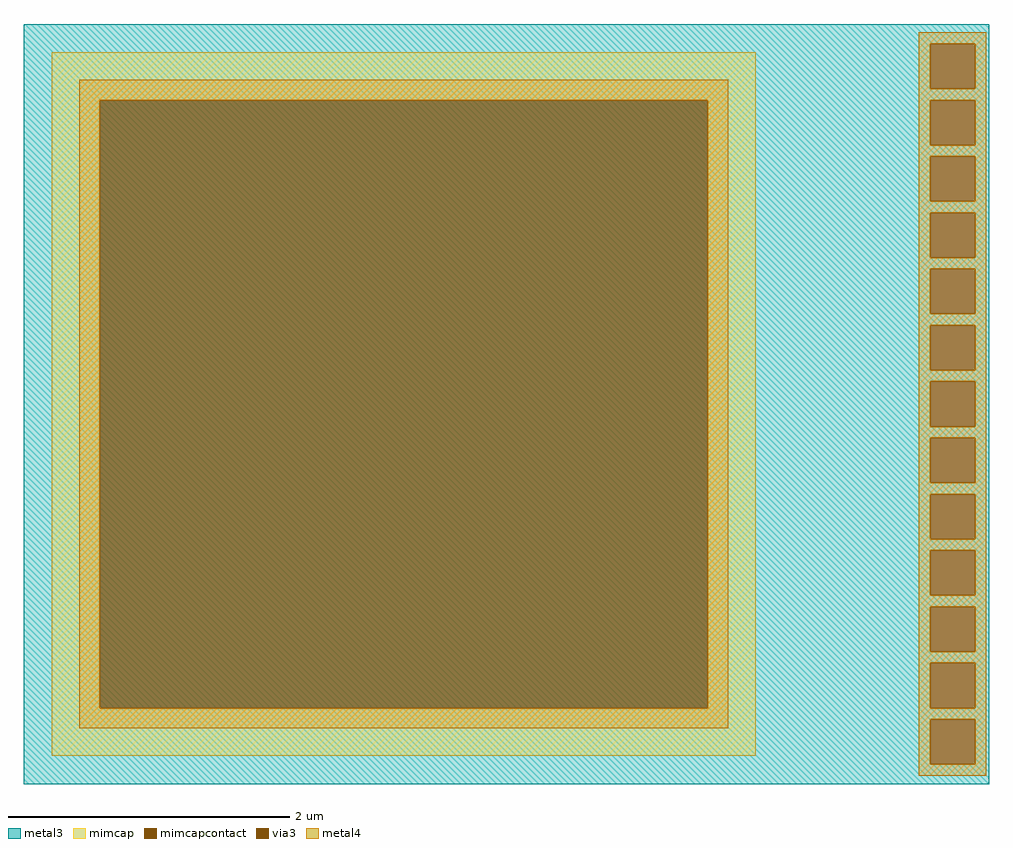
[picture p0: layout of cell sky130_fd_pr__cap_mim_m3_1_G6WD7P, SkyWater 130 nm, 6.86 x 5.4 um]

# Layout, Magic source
magic
tech sky130A
magscale 1 2
<< metal3 >>
rect -686 512 686 540
rect -686 448 602 512
rect 666 448 686 512
rect -686 432 686 448
rect -686 368 602 432
rect 666 368 686 432
rect -686 352 686 368
rect -686 288 602 352
rect 666 288 686 352
rect -686 272 686 288
rect -686 208 602 272
rect 666 208 686 272
rect -686 192 686 208
rect -686 128 602 192
rect 666 128 686 192
rect -686 112 686 128
rect -686 48 602 112
rect 666 48 686 112
rect -686 32 686 48
rect -686 -32 602 32
rect 666 -32 686 32
rect -686 -48 686 -32
rect -686 -112 602 -48
rect 666 -112 686 -48
rect -686 -128 686 -112
rect -686 -192 602 -128
rect 666 -192 686 -128
rect -686 -208 686 -192
rect -686 -272 602 -208
rect 666 -272 686 -208
rect -686 -288 686 -272
rect -686 -352 602 -288
rect 666 -352 686 -288
rect -686 -368 686 -352
rect -686 -432 602 -368
rect 666 -432 686 -368
rect -686 -448 686 -432
rect -686 -512 602 -448
rect 666 -512 686 -448
rect -686 -540 686 -512
<< via3 >>
rect 602 448 666 512
rect 602 368 666 432
rect 602 288 666 352
rect 602 208 666 272
rect 602 128 666 192
rect 602 48 666 112
rect 602 -32 666 32
rect 602 -112 666 -48
rect 602 -192 666 -128
rect 602 -272 666 -208
rect 602 -352 666 -288
rect 602 -432 666 -368
rect 602 -512 666 -448
<< mimcap >>
rect -646 432 354 500
rect -646 -432 -578 432
rect 286 -432 354 432
rect -646 -500 354 -432
<< mimcapcontact >>
rect -578 -432 286 432
<< metal4 >>
rect 586 512 682 528
rect -607 432 315 461
rect -607 -432 -578 432
rect 286 -432 315 432
rect -607 -461 315 -432
rect 586 448 602 512
rect 666 448 682 512
rect 586 432 682 448
rect 586 368 602 432
rect 666 368 682 432
rect 586 352 682 368
rect 586 288 602 352
rect 666 288 682 352
rect 586 272 682 288
rect 586 208 602 272
rect 666 208 682 272
rect 586 192 682 208
rect 586 128 602 192
rect 666 128 682 192
rect 586 112 682 128
rect 586 48 602 112
rect 666 48 682 112
rect 586 32 682 48
rect 586 -32 602 32
rect 666 -32 682 32
rect 586 -48 682 -32
rect 586 -112 602 -48
rect 666 -112 682 -48
rect 586 -128 682 -112
rect 586 -192 602 -128
rect 666 -192 682 -128
rect 586 -208 682 -192
rect 586 -272 602 -208
rect 666 -272 682 -208
rect 586 -288 682 -272
rect 586 -352 602 -288
rect 666 -352 682 -288
rect 586 -368 682 -352
rect 586 -432 602 -368
rect 666 -432 682 -368
rect 586 -448 682 -432
rect 586 -512 602 -448
rect 666 -512 682 -448
rect 586 -528 682 -512
<< properties >>
string FIXED_BBOX -686 -540 394 540
<< end >>
